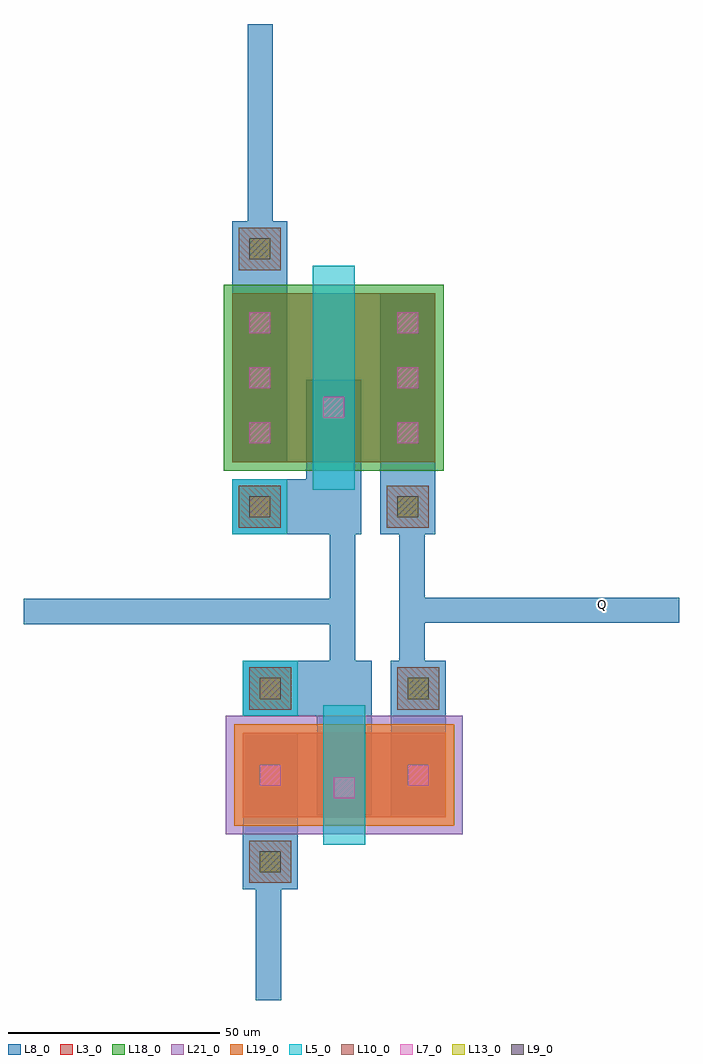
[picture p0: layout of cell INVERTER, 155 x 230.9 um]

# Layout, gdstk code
import gdstk
lib = gdstk.Library(unit=1e-6, precision=1e-07)
def R(c, l, rs):  # rectangles x0, y0, x1, y1
    for r in rs: c.add(gdstk.rectangle(r[:2], r[2:], *l))
L3_0 = (3, 0)
L5_0 = (5, 0)
L7_0 = (7, 0)
L8_0 = (8, 0)
L9_0 = (9, 0)
L10_0 = (10, 0)
L13_0 = (13, 0)
L18_0 = (18, 0)
L19_0 = (19, 0)
L21_0 = (21, 0)

dcont = lib.new_cell('dcont')
R(dcont, L3_0, [(-6.5,-6.5,6.5,6.5)])
R(dcont, L7_0, [(-2.5,-2.5,2.5,2.5)])
R(dcont, L8_0, [(-6.5,-6.5,6.5,6.5)])

pcont = lib.new_cell('pcont')
R(pcont, L5_0, [(-6.5,-6.5,6.5,6.5)])
R(pcont, L7_0, [(-2.5,-2.5,2.5,2.5)])
R(pcont, L8_0, [(-6.5,-6.5,6.5,6.5)])
R(pcont, L13_0, [(-2.5,-2.5,2.5,2.5)])

via = lib.new_cell('Via')
R(via, L8_0, [(-6.5,-6.5,6.5,6.5)])
R(via, L9_0, [(-2.5,-2.5,2.5,2.5)])
R(via, L10_0, [(-5,-5,5,5)])
R(via, L13_0, [(-2.5,-2.5,2.5,2.5)])

nch_1 = lib.new_cell('Nch$1')
R(nch_1, L3_0, [(0,17,48,37)])
R(nch_1, L19_0, [(-2,15,50,39)])
R(nch_1, L21_0, [(-4,13,52,41)])
nch_1.add(gdstk.FlexPath([(6.5,17),(6.5,37)], 13, ends="flush", simple_path=True, layer=8, datatype=0))  # L8_0
nch_1.add(gdstk.FlexPath([(41.5,17),(41.5,37)], 13, ends="flush", simple_path=True, layer=8, datatype=0))  # L8_0
nch_1.add(gdstk.FlexPath([(6.5,47.5),(24,47.5),(24,43.5)], 13, ends="flush", simple_path=True, layer=8, datatype=0))  # L8_0
nch_1.add(gdstk.FlexPath([(6.5,6.5),(6.5,21)], 13, ends="flush", simple_path=True, layer=8, datatype=0))  # L8_0
nch_1.add(gdstk.FlexPath([(24,17.5),(24,47.5)], 13, ends="flush", simple_path=True, layer=8, datatype=0))  # L8_0
nch_1.add(gdstk.FlexPath([(41.5,33),(41.5,46.5)], 13, ends="flush", simple_path=True, layer=8, datatype=0))  # L8_0
nch_1.add(gdstk.FlexPath([(24,17),(24,37)], 10, ends=(6.5, 6.5), simple_path=True, layer=5, datatype=0))  # L5_0
nch_1.add(gdstk.Reference(dcont, (6.5,27)))
nch_1.add(gdstk.Reference(dcont, (41.5,27)))
nch_1.add(gdstk.Reference(pcont, (6.5,47.5)))
nch_1.add(gdstk.Reference(via, (6.5,47.5)))
nch_1.add(gdstk.Reference(via, (6.5,6.5)))
nch_1.add(gdstk.Reference(dcont, (24,24)))
nch_1.add(gdstk.Reference(via, (41.5,47.5)))

pch = lib.new_cell('Pch')
R(pch, L3_0, [(0,17,48,57)])
R(pch, L18_0, [(-2,15,50,59)])
pch.add(gdstk.FlexPath([(6.5,17),(6.5,57)], 13, ends="flush", simple_path=True, layer=8, datatype=0))  # L8_0
pch.add(gdstk.FlexPath([(41.5,17),(41.5,57)], 13, ends="flush", simple_path=True, layer=8, datatype=0))  # L8_0
pch.add(gdstk.FlexPath([(6.5,6.5),(24,6.5),(24,10.5)], 13, ends="flush", simple_path=True, layer=8, datatype=0))  # L8_0
pch.add(gdstk.FlexPath([(6.5,53),(6.5,67.5)], 13, ends="flush", simple_path=True, layer=8, datatype=0))  # L8_0
pch.add(gdstk.FlexPath([(24,6.5),(24,36.5)], 13, ends="flush", simple_path=True, layer=8, datatype=0))  # L8_0
pch.add(gdstk.FlexPath([(41.5,9),(41.5,21)], 13, ends="flush", simple_path=True, layer=8, datatype=0))  # L8_0
pch.add(gdstk.FlexPath([(24,17),(24,57)], 10, ends=(6.5, 6.5), simple_path=True, layer=5, datatype=0))  # L5_0
pch.add(gdstk.Reference(dcont, (6.5,24)))
pch.add(gdstk.Reference(dcont, (6.5,37)))
pch.add(gdstk.Reference(dcont, (6.5,50)))
pch.add(gdstk.Reference(dcont, (41.5,24)))
pch.add(gdstk.Reference(dcont, (41.5,37)))
pch.add(gdstk.Reference(dcont, (41.5,50)))
pch.add(gdstk.Reference(pcont, (6.5,6.5)))
pch.add(gdstk.Reference(via, (6.5,6.5)))
pch.add(gdstk.Reference(via, (6.5,67.5)))
pch.add(gdstk.Reference(dcont, (24,30)))
pch.add(gdstk.Reference(via, (41.5,6.5)))

inverter = lib.new_cell('INVERTER')
inverter.add(gdstk.FlexPath([(55.7,87.8),(55.7,-2.4)], 6, ends="flush", simple_path=True, layer=8, datatype=0))  # L8_0
inverter.add(gdstk.FlexPath([(72.1,111.4),(72.1,-8.8)], 6, ends="flush", simple_path=True, layer=8, datatype=0))  # L8_0
inverter.add(gdstk.FlexPath([(38.2,6.7),(38.2,-52.7)], 6, ends="flush", simple_path=True, layer=8, datatype=0))  # L8_0
inverter.add(gdstk.FlexPath([(53.9,39.2),(-19.7,39.2)], 6, ends="flush", simple_path=True, layer=8, datatype=0))  # L8_0
inverter.add(gdstk.FlexPath([(72.7,39.5),(135.3,39.5)], 6, ends="flush", simple_path=True, layer=8, datatype=0))  # L8_0
inverter.add(gdstk.FlexPath([(36.2,124.6),(36.2,178.2)], 6, ends="flush", simple_path=True, layer=8, datatype=0))  # L8_0
inverter.add(gdstk.Reference(nch_1, (32.1,-26.5)))
inverter.add(gdstk.Reference(pch, (29.6,57.5)))
inverter.add(gdstk.Label('Q', (117.2,40.9), layer=8, texttype=0))

lib.write_gds('INVERTER.gds')
